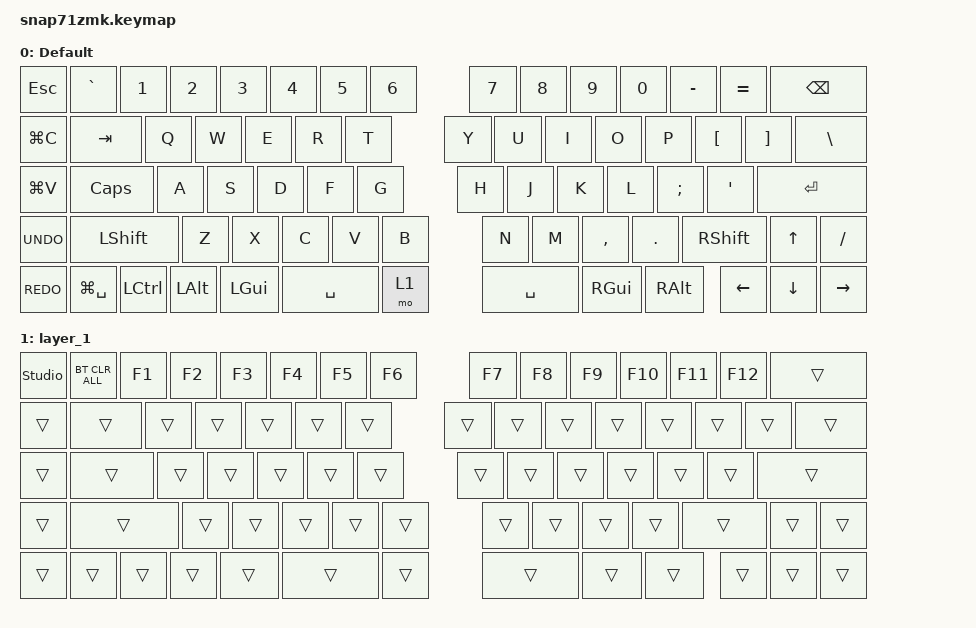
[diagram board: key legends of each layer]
// This file was generated from a template. Edit it to match your keyboard.
// See https://zmk.dev/docs/development/hardware-integration/new-shield for more instructions.

#include <behaviors.dtsi>
#include <dt-bindings/zmk/bt.h>
#include <dt-bindings/zmk/keys.h>

/ {
    // Define a default keymap here.
    // See https://zmk.dev/docs/development/hardware-integration/new-shield#default-keymap.

    keymap {
        compatible = "zmk,keymap";

        Default {
            bindings = <
&kp ESCAPE  &kp GRAVE      &kp N1     &kp N2    &kp N3    &kp N4     &kp N5  &kp N6         &kp N7  &kp N8     &kp N9     &kp N0    &kp MINUS  &kp EQUAL  &kp BACKSPACE
&kp LG(C)   &kp TAB        &kp Q      &kp W     &kp E     &kp R      &kp T           &kp Y  &kp U   &kp I      &kp O      &kp P     &kp LBKT   &kp RBKT   &kp BSLH
&kp LG(V)   &kp CAPS       &kp A      &kp S     &kp D     &kp F      &kp G           &kp H  &kp J   &kp K      &kp L      &kp SEMI  &kp APOS   &kp ENTER
&kp K_UNDO  &kp LSHFT      &kp Z      &kp X     &kp C     &kp V      &kp B                  &kp N   &kp M      &kp COMMA  &kp DOT   &kp RSHFT  &kp UP     &kp FSLH
&kp K_REDO  &kp LG(SPACE)  &kp LCTRL  &kp LALT  &kp LGUI  &kp SPACE  &mo 1                          &kp SPACE  &kp RGUI   &kp RALT  &kp LEFT   &kp DOWN   &kp RIGHT
            >;
        };

        layer_1 {
            bindings = <
&studio_unlock  &bt BT_CLR_ALL  &kp F1  &kp F2  &kp F3  &kp F4  &kp F5  &kp F6          &kp F7  &kp F8  &kp F9  &kp F10  &kp F11  &kp F12  &trans
&trans          &trans          &trans  &trans  &trans  &trans  &trans          &trans  &trans  &trans  &trans  &trans   &trans   &trans   &trans
&trans          &trans          &trans  &trans  &trans  &trans  &trans          &trans  &trans  &trans  &trans  &trans   &trans   &trans
&trans          &trans          &trans  &trans  &trans  &trans  &trans                  &trans  &trans  &trans  &trans   &trans   &trans   &trans
&trans          &trans          &trans  &trans  &trans  &trans  &trans                          &trans  &trans  &trans   &trans   &trans   &trans
            >;
        };
    };
};
